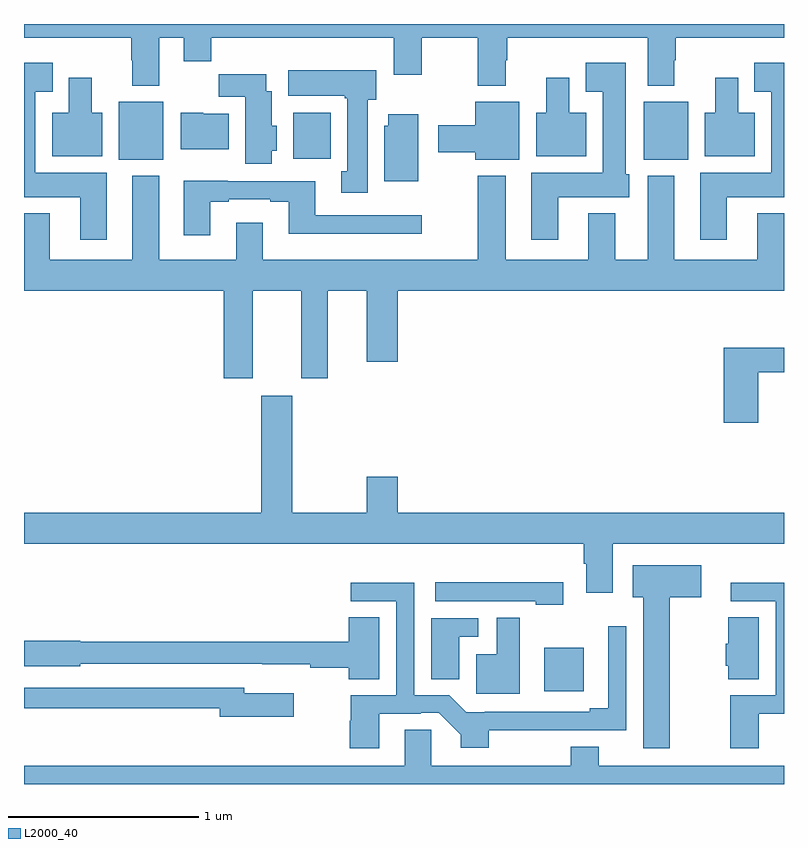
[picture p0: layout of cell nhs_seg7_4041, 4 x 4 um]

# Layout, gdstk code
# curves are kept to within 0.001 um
import gdstk
lib = gdstk.Library(unit=1e-6, precision=1e-09)
def R(c, l, rs):  # rectangles x0, y0, x1, y1
    for r in rs: c.add(gdstk.rectangle(r[:2], r[2:], *l))
def P(c, l, *ps):  # polygons
    for p in ps: c.add(gdstk.Polygon(p, *l))
L2000_40 = (2000, 40)

nhs_seg7_4041 = lib.new_cell('nhs_seg7_4041')
R(nhs_seg7_4041, L2000_40, [(369.737,1018.487,369.946,1018.717), (367.499,1021.286,367.732,1021.591), (370.262,1021.286,370.495,1021.591), (368.417,1021.292,368.614,1021.534)])
P(nhs_seg7_4041, L2000_40, [(367.711,1021.928),(367.841,1021.928),(367.841,1021.804),(367.985,1021.804),(367.985,1021.928),(368.945,1021.928),(368.945,1021.734),(369.093,1021.734),(369.093,1021.928),(369.388,1021.928),(369.388,1021.676),(369.535,1021.676),(369.535,1021.808),(369.543,1021.808),(369.543,1021.928),(370.283,1021.928),(370.283,1021.676),(370.423,1021.676),(370.423,1021.808),(370.431,1021.808),(370.431,1021.928),(371,1021.928),(371,1022),(367,1022),(367,1021.928),(367.564,1021.928),(367.564,1021.808),(367.571,1021.808),(367.571,1021.676),(367.711,1021.676)],
  [(369.811,1021.088),(370.186,1021.088),(370.186,1021.209),(370.168,1021.209),(370.168,1021.795),(369.956,1021.795),(369.956,1021.643),(370.046,1021.643),(370.046,1021.216),(369.671,1021.216),(369.671,1020.864),(369.811,1020.864)],
  [(367.435,1021.216),(367.06,1021.216),(367.06,1021.643),(367.15,1021.643),(367.15,1021.795),(367,1021.795),(367,1021.088),(367.295,1021.088),(367.295,1020.864),(367.435,1020.864)],
  [(370.699,1021.088),(371,1021.088),(371,1021.795),(370.844,1021.795),(370.844,1021.643),(370.934,1021.643),(370.934,1021.216),(370.559,1021.216),(370.559,1020.864),(370.699,1020.864)],
  [(368.809,1021.602),(368.854,1021.602),(368.854,1021.756),(368.39,1021.756),(368.39,1021.622),(368.689,1021.622),(368.689,1021.609),(368.702,1021.609),(368.702,1021.226),(368.669,1021.226),(368.669,1021.113),(368.809,1021.113)],
  [(368.305,1021.332),(368.329,1021.332),(368.329,1021.464),(368.305,1021.464),(368.305,1021.645),(368.275,1021.645),(368.275,1021.735),(368.026,1021.735),(368.026,1021.616),(368.165,1021.616),(368.165,1021.265),(368.305,1021.265)],
  [(369.958,1021.534),(369.871,1021.534),(369.871,1021.717),(369.749,1021.717),(369.749,1021.534),(369.695,1021.534),(369.695,1021.304),(369.958,1021.304)],
  [(367.411,1021.534),(367.357,1021.534),(367.357,1021.717),(367.235,1021.717),(367.235,1021.534),(367.148,1021.534),(367.148,1021.304),(367.411,1021.304)],
  [(370.846,1021.534),(370.759,1021.534),(370.759,1021.717),(370.637,1021.717),(370.637,1021.534),(370.583,1021.534),(370.583,1021.304),(370.846,1021.304)],
  [(369.607,1021.591),(369.374,1021.591),(369.374,1021.467),(369.18,1021.467),(369.18,1021.325),(369.374,1021.325),(369.374,1021.286),(369.607,1021.286)],
  [(368.077,1021.528),(367.944,1021.528),(367.944,1021.534),(367.826,1021.534),(367.826,1021.34),(368.077,1021.34)],
  [(369.076,1021.525),(368.918,1021.525),(368.918,1021.464),(368.897,1021.464),(368.897,1021.172),(369.076,1021.172)],
  [(368.257,1020.955),(368.117,1020.955),(368.117,1020.76),(367.711,1020.76),(367.711,1021.201),(367.571,1021.201),(367.571,1020.76),(367.135,1020.76),(367.135,1021.003),(367,1021.003),(367,1020.596),(368.051,1020.596),(368.051,1020.135),(368.203,1020.135),(368.203,1020.596),(368.459,1020.596),(368.459,1020.135),(368.599,1020.135),(368.599,1020.596),(368.804,1020.596),(368.804,1020.222),(368.968,1020.222),(368.968,1020.596),(371,1020.596),(371,1021.003),(370.859,1021.003),(370.859,1020.76),(370.423,1020.76),(370.423,1021.201),(370.283,1021.201),(370.283,1020.76),(370.111,1020.76),(370.111,1021.003),(369.971,1021.003),(369.971,1020.76),(369.535,1020.76),(369.535,1021.201),(369.388,1021.201),(369.388,1020.76),(368.257,1020.76)],
  [(367.981,1021.065),(368.077,1021.065),(368.077,1021.077),(368.297,1021.077),(368.297,1021.065),(368.393,1021.065),(368.393,1020.896),(369.094,1020.896),(369.094,1020.993),(368.533,1020.993),(368.533,1021.173),(368.073,1021.173),(368.073,1021.174),(367.841,1021.174),(367.841,1020.888),(367.981,1020.888)],
  [(370.865,1020.166),(371,1020.166),(371,1020.295),(370.682,1020.295),(370.682,1019.901),(370.865,1019.901)],
  [(370.099,1019.264),(371,1019.264),(371,1019.428),(368.968,1019.428),(368.968,1019.617),(368.804,1019.617),(368.804,1019.428),(368.413,1019.428),(368.413,1020.043),(368.249,1020.043),(368.249,1019.428),(367,1019.428),(367,1019.264),(369.947,1019.264),(369.947,1019.158),(369.959,1019.158),(369.959,1019.007),(370.099,1019.007)],
  [(370.398,1018.982),(370.564,1018.982),(370.564,1019.152),(370.203,1019.152),(370.203,1018.982),(370.259,1018.982),(370.259,1018.188),(370.398,1018.188)],
  [(369.838,1019.062),(369.165,1019.062),(369.165,1018.961),(369.693,1018.961),(369.693,1018.943),(369.838,1018.943)],
  [(370.867,1018.371),(371,1018.371),(371,1019.06),(370.719,1019.06),(370.719,1018.962),(370.956,1018.962),(370.956,1018.467),(370.717,1018.467),(370.717,1018.188),(370.867,1018.188)],
  [(368.869,1018.371),(369.089,1018.371),(369.089,1018.374),(369.183,1018.374),(369.299,1018.258),(369.299,1018.19),(369.447,1018.19),(369.447,1018.283),(370.17,1018.284),(370.17,1018.831),(370.074,1018.831),(370.074,1018.4),(369.977,1018.4),(369.977,1018.38),(369.424,1018.38),(369.424,1018.377),(369.328,1018.377),(369.238,1018.467),(369.054,1018.467),(369.054,1019.06),(368.721,1019.06),(368.721,1018.962),(368.958,1018.962),(368.958,1018.467),(368.719,1018.467),(368.719,1018.332),(368.714,1018.332),(368.714,1018.188),(368.869,1018.188)],
  [(368.869,1018.877),(368.708,1018.877),(368.708,1018.748),(367.296,1018.748),(367.296,1018.754),(367,1018.754),(367,1018.619),(367.296,1018.619),(367.296,1018.632),(368.254,1018.632),(368.254,1018.631),(368.506,1018.631),(368.506,1018.612),(368.708,1018.612),(368.708,1018.552),(368.869,1018.552)],
  [(370.867,1018.877),(370.706,1018.877),(370.706,1018.737),(370.694,1018.737),(370.694,1018.623),(370.706,1018.623),(370.706,1018.552),(370.867,1018.552)],
  [(369.61,1018.876),(369.488,1018.876),(369.488,1018.684),(369.38,1018.684),(369.38,1018.475),(369.61,1018.475)],
  [(369.292,1018.776),(369.391,1018.776),(369.391,1018.872),(369.143,1018.872),(369.143,1018.552),(369.292,1018.552)],
  [(368.419,1018.477),(368.158,1018.477),(368.158,1018.506),(367,1018.506),(367,1018.398),(368.03,1018.398),(368.03,1018.355),(368.419,1018.355)],
  [(371,1018.096),(370.024,1018.096),(370.024,1018.195),(369.877,1018.195),(369.877,1018.096),(369.144,1018.096),(369.144,1018.286),(369.005,1018.286),(369.005,1018.096),(367,1018.096),(367,1018),(371,1018)])

lib.write_gds('nhs_seg7_4041.gds')
